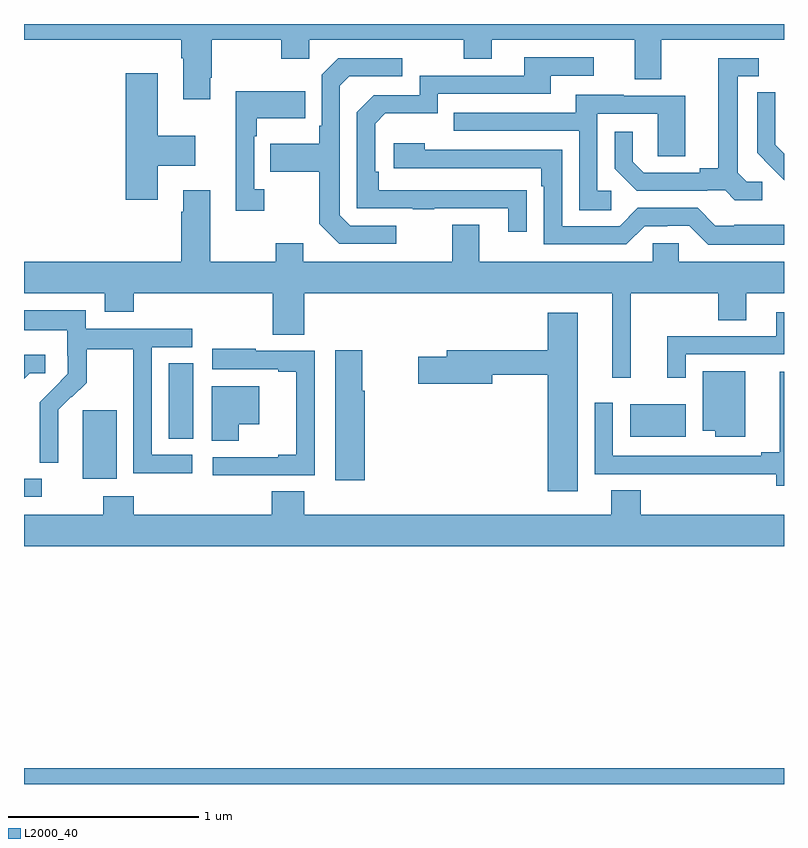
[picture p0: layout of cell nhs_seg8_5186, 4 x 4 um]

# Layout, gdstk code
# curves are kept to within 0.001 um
import gdstk
lib = gdstk.Library(unit=1e-6, precision=1e-09)
def R(c, l, rs):  # rectangles x0, y0, x1, y1
    for r in rs: c.add(gdstk.rectangle(r[:2], r[2:], *l))
def P(c, l, *ps):  # polygons
    for p in ps: c.add(gdstk.Polygon(p, *l))
L2000_40 = (2000, 40)

nhs_seg8_5186 = lib.new_cell('nhs_seg8_5186')
R(nhs_seg8_5186, L2000_40, [(423,1129.9,427,1129.984), (423,1131.411,423.094,1131.507), (423.308,1131.506,423.487,1131.867), (423.761,1131.718,423.892,1132.115), (426.191,1131.728,426.484,1131.898)])
P(nhs_seg8_5186, L2000_40, [(423.979,1133.617),(423.987,1133.617),(423.987,1133.816),(424.354,1133.816),(424.354,1133.717),(424.5,1133.717),(424.5,1133.816),(425.314,1133.816),(425.314,1133.717),(425.461,1133.717),(425.461,1133.816),(426.215,1133.816),(426.215,1133.608),(426.355,1133.608),(426.355,1133.816),(427,1133.816),(427,1133.9),(423,1133.9),(423,1133.816),(423.827,1133.816),(423.827,1133.72),(423.839,1133.72),(423.839,1133.505),(423.979,1133.505)],
  [(425.645,1133.024),(424.868,1133.025),(424.868,1133.122),(424.848,1133.122),(424.848,1133.376),(424.901,1133.429),(425.178,1133.429),(425.178,1133.532),(425.773,1133.532),(425.773,1133.628),(425.998,1133.628),(425.998,1133.724),(425.633,1133.724),(425.633,1133.628),(425.082,1133.628),(425.082,1133.526),(424.842,1133.526),(424.752,1133.436),(424.752,1132.929),(425.047,1132.929),(425.047,1132.924),(425.159,1132.924),(425.159,1132.929),(425.549,1132.929),(425.549,1132.806),(425.645,1132.806)],
  [(424.96,1132.839),(424.716,1132.839),(424.662,1132.893),(424.662,1133.574),(424.713,1133.625),(424.99,1133.625),(424.99,1133.721),(424.653,1133.721),(424.566,1133.634),(424.566,1133.365),(424.554,1133.365),(424.554,1133.269),(424.297,1133.269),(424.297,1133.122),(424.554,1133.122),(424.554,1132.849),(424.659,1132.743),(424.96,1132.743)],
  [(426.886,1133.07),(426.804,1133.07),(426.757,1133.117),(426.757,1133.625),(426.868,1133.625),(426.868,1133.721),(426.653,1133.721),(426.653,1133.141),(426.557,1133.141),(426.557,1133.118),(426.262,1133.118),(426.205,1133.175),(426.205,1133.332),(426.108,1133.332),(426.108,1133.138),(426.224,1133.022),(426.596,1133.022),(426.596,1133.025),(426.69,1133.025),(426.742,1132.973),(426.886,1132.973)],
  [(423.703,1133.153),(423.901,1133.153),(423.901,1133.311),(423.703,1133.311),(423.703,1133.641),(423.536,1133.641),(423.536,1132.974),(423.703,1132.974)],
  [(424.264,1133.03),(424.212,1133.03),(424.212,1133.309),(424.225,1133.309),(424.225,1133.405),(424.481,1133.405),(424.481,1133.545),(424.115,1133.545),(424.115,1132.917),(424.264,1132.917)],
  [(427,1133.216),(426.953,1133.264),(426.953,1133.386),(426.954,1133.386),(426.954,1133.54),(426.858,1133.54),(426.858,1133.222),(426.931,1133.149),(426.93,1133.148),(427,1133.078)],
  [(426.091,1133.022),(426.018,1133.022),(426.018,1133.427),(426.336,1133.427),(426.336,1133.203),(426.481,1133.203),(426.481,1133.523),(426.157,1133.523),(426.157,1133.527),(425.903,1133.527),(425.903,1133.433),(425.263,1133.433),(425.263,1133.337),(425.922,1133.337),(425.922,1132.921),(426.091,1132.921)],
  [(427,1132.843),(426.739,1132.843),(426.739,1132.839),(426.639,1132.839),(426.546,1132.932),(426.231,1132.932),(426.135,1132.836),(425.832,1132.836),(425.832,1133.238),(425.108,1133.238),(425.108,1133.272),(424.947,1133.272),(424.947,1133.142),(425.723,1133.142),(425.723,1133.045),(425.736,1133.045),(425.736,1132.74),(426.171,1132.74),(426.267,1132.836),(426.386,1132.836),(426.386,1132.839),(426.501,1132.839),(426.601,1132.739),(427,1132.739)],
  [(426.194,1132.484),(426.655,1132.484),(426.655,1132.342),(426.802,1132.342),(426.802,1132.484),(427,1132.484),(427,1132.648),(426.447,1132.648),(426.447,1132.746),(426.309,1132.746),(426.309,1132.648),(425.395,1132.648),(425.395,1132.843),(425.255,1132.843),(425.255,1132.648),(424.471,1132.648),(424.471,1132.747),(424.324,1132.747),(424.324,1132.648),(423.979,1132.648),(423.979,1133.026),(423.839,1133.026),(423.839,1132.913),(423.827,1132.913),(423.827,1132.648),(423,1132.648),(423,1132.484),(423.425,1132.484),(423.425,1132.385),(423.578,1132.385),(423.578,1132.484),(424.309,1132.484),(424.309,1132.264),(424.475,1132.264),(424.475,1132.484),(426.095,1132.484),(426.095,1132.038),(426.194,1132.038)],
  [(423.886,1131.633),(423.672,1131.633),(423.672,1132.2),(423.886,1132.2),(423.886,1132.296),(423.324,1132.296),(423.324,1132.393),(423,1132.393),(423,1132.289),(423.228,1132.289),(423.228,1132.155),(423.23,1132.155),(423.23,1132.058),(423.084,1131.91),(423.084,1131.592),(423.18,1131.592),(423.179,1131.869),(423.249,1131.939),(423.252,1131.936),(423.329,1132.013),(423.329,1132.188),(423.574,1132.188),(423.574,1131.964),(423.576,1131.964),(423.576,1131.535),(423.886,1131.535)],
  [(426.483,1132.161),(427,1132.161),(427,1132.384),(426.959,1132.384),(426.959,1132.257),(426.386,1132.257),(426.386,1132.038),(426.483,1132.038)],
  [(425.914,1132.381),(425.756,1132.381),(425.756,1132.183),(425.225,1132.183),(425.225,1132.149),(425.076,1132.149),(425.076,1132.007),(425.464,1132.007),(425.464,1132.054),(425.756,1132.054),(425.756,1131.441),(425.914,1131.441)],
  [(424.22,1131.525),(424.53,1131.525),(424.53,1132.179),(424.22,1132.179),(424.22,1132.192),(423.99,1132.192),(423.99,1132.083),(424.337,1132.083),(424.337,1132.071),(424.433,1132.071),(424.433,1131.634),(424.337,1131.634),(424.337,1131.621),(423.993,1131.621),(423.993,1131.524),(424.22,1131.524)],
  [(424.793,1131.97),(424.78,1131.97),(424.78,1132.183),(424.637,1132.183),(424.637,1131.498),(424.793,1131.498)],
  [(423.03,1132.062),(423.112,1132.062),(423.112,1132.159),(423,1132.159),(423,1132.032)],
  [(426.796,1132.072),(426.572,1132.072),(426.572,1131.758),(426.638,1131.758),(426.638,1131.728),(426.796,1131.728)],
  [(427,1132.071),(426.977,1132.071),(426.977,1131.647),(426.881,1131.647),(426.881,1131.627),(426.099,1131.627),(426.099,1131.907),(426.003,1131.907),(426.003,1131.531),(426.328,1131.531),(426.328,1131.53),(426.958,1131.53),(426.958,1131.471),(427,1131.471)],
  [(424.131,1131.794),(424.237,1131.794),(424.237,1131.994),(423.989,1131.994),(423.989,1131.706),(424.131,1131.706)],
  [(427,1131.316),(426.245,1131.316),(426.245,1131.446),(426.092,1131.446),(426.092,1131.316),(424.475,1131.316),(424.475,1131.44),(424.304,1131.44),(424.304,1131.316),(423.578,1131.316),(423.578,1131.415),(423.418,1131.415),(423.418,1131.316),(423,1131.316),(423,1131.152),(427,1131.152)])

lib.write_gds('nhs_seg8_5186.gds')
